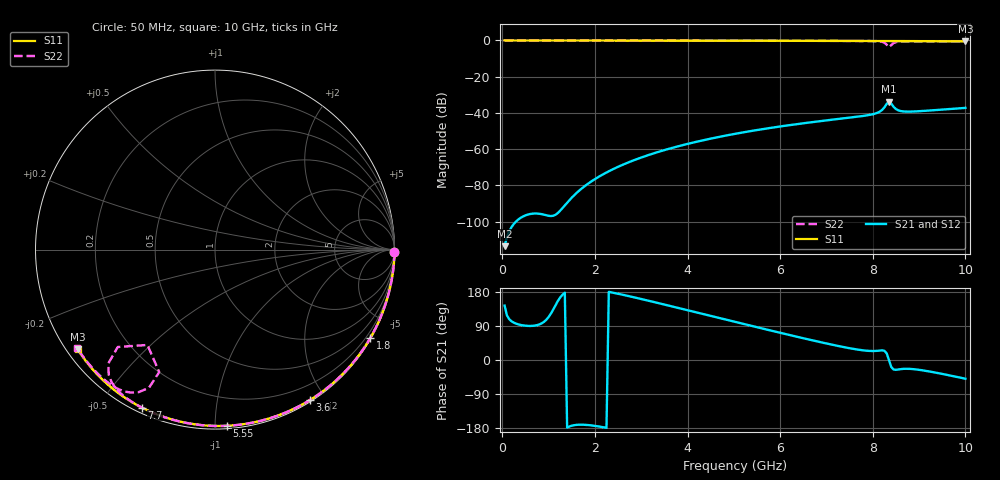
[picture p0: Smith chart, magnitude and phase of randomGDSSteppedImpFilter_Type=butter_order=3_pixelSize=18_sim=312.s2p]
! freq	dB(S11)	phase(S11)	dB(S12)	phase(S12)
!  dB(S21)	phase(S21)	dB(S22)	phase(S22)
!S-par simulation data
#  GHz  S  DB  R 50
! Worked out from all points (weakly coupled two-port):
!   200 points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, 50 MHz to 10 GHz, reference 50 ohm
!   highest |S21| = -33.76 dB at 8.35 GHz (marker M1); lowest = -113.5 dB at 50 MHz (marker M2)
!   lowest |S11| = -0.5 dB at 10 GHz (marker M3), VSWR 35.55, Z = 1.55 - j16.2 ohm
!   |S11| at or under -10 dB: nowhere
!   |S22| runs from -3.7 to 0.0 dB; largest |S21 - S12| = 0
!   S11 on the Smith chart (normalised r, x): 50 MHz: open; 1.8 GHz: 0.03, -3.78; 3.6 GHz: 0.02, -1.81; 5.55 GHz: 0.02, -1.07; 7.7 GHz: 0.02, -0.64; 10 GHz: 0.03, -0.32
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0.05  -0.00 -0.8  -113.48 143.5  -113.48 143.5  -0.00 -0.8
0.9  -0.02 -15.0  -96.10 100.7  -96.10 100.7  -0.02 -15.2
1.75  -0.04 -28.8  -80.96 -170.8  -80.96 -170.8  -0.04 -29.2
1.8  -0.04 -29.6  -79.98 -171.2  -79.98 -171.2  -0.04 -30.0
2.1  -0.04 -34.5  -74.95 -175.7  -74.95 -175.7  -0.04 -34.9
2.5  -0.05 -40.8  -69.70 174.8  -69.70 174.8  -0.05 -41.3
3.4  -0.07 -54.8  -61.24 149.3  -61.24 149.3  -0.07 -55.4
3.6  -0.08 -57.8  -59.75 143.4  -59.75 143.4  -0.08 -58.5
5.05  -0.12 -79.1  -51.40 99.9  -51.40 99.9  -0.12 -80.1
5.55  -0.14 -86.1  -49.21 85.0  -49.21 85.0  -0.14 -87.3
6.7  -0.20 -101.7  -45.03 51.8  -45.03 51.8  -0.20 -103.4
7.7  -0.26 -114.8  -41.96 27.0  -41.96 27.0  -0.29 -117.9
8.1  -0.30 -120.0  -39.91 24.3  -39.91 24.3  -0.47 -126.3
8.25  -0.31 -121.9  -36.96 24.4  -36.96 24.4  -1.21 -133.1
8.3  -0.31 -122.5  -35.03 17.6  -35.03 17.6  -2.31 -135.0
8.35  -0.31 -123.1  -33.76 -0.5  -33.76 -0.5  -3.73 -125.3
8.4  -0.32 -123.8  -34.86 -18.7  -34.86 -18.7  -2.50 -114.5
8.45  -0.32 -124.4  -36.63 -25.2  -36.63 -25.2  -1.38 -115.6
8.55  -0.33 -125.7  -38.53 -25.0  -38.53 -25.0  -0.70 -120.3
8.7  -0.35 -127.6  -39.22 -23.2  -39.22 -23.2  -0.49 -124.7
9  -0.38 -131.4  -39.03 -25.9  -39.03 -25.9  -0.43 -130.3
10  -0.49 -144.1  -37.20 -49.5  -37.20 -49.5  -0.51 -144.4
